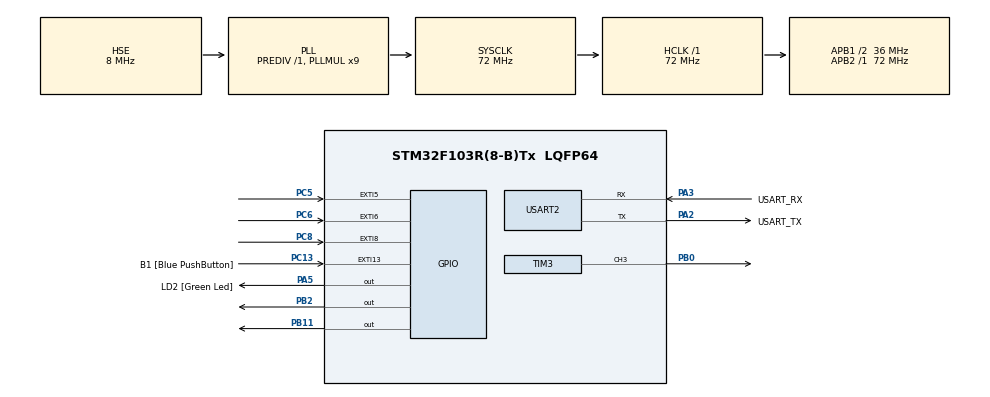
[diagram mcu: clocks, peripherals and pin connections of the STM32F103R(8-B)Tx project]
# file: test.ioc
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FREERTOS.Tasks01=defaultTask,0,128,StartDefaultTask,Default,NULL,Dynamic,NULL,NULL
FREERTOS.configUSE_TIMERS=1
Mcu.Family=STM32F1
Mcu.Name=STM32F103R(8-B)Tx
Mcu.Package=LQFP64
NVIC.EXTI15_10_IRQn=true\:5\:0\:false\:false\:true\:true\:true\:true\:true
NVIC.EXTI9_5_IRQn=true\:5\:0\:false\:false\:true\:true\:true\:true\:true
NVIC.PriorityGroup=NVIC_PRIORITYGROUP_4
PA13.GPIO_Label=TMS
PA13.Mode=Serial_Wire
PA13.Signal=SYS_JTMS-SWDIO
PA14.GPIO_Label=TCK
PA14.Mode=Serial_Wire
PA14.Signal=SYS_JTCK-SWCLK
PA2.GPIO_Label=USART_TX
PA2.GPIO_Mode=GPIO_MODE_AF_PP
PA2.GPIO_PuPd=GPIO_NOPULL
PA2.GPIO_Speed=GPIO_SPEED_FREQ_LOW
PA2.Mode=Asynchronous
PA2.Signal=USART2_TX
PA3.GPIO_Label=USART_RX
PA3.GPIO_Mode=GPIO_MODE_AF_PP
PA3.GPIO_PuPd=GPIO_NOPULL
PA3.GPIO_Speed=GPIO_SPEED_FREQ_LOW
PA3.Mode=Asynchronous
PA3.Signal=USART2_RX
PA5.GPIO_Label=LD2 [Green Led]
PA5.GPIO_ModeDefaultOutputPP=GPIO_MODE_OUTPUT_PP
PA5.GPIO_PuPd=GPIO_NOPULL
PA5.GPIO_Speed=GPIO_SPEED_FREQ_LOW
PA5.Signal=GPIO_Output
PB0.Signal=S_TIM3_CH3
PB11.Signal=GPIO_Output
PB2.Signal=GPIO_Output
PB3.GPIO_Label=SWO
PB3.Signal=SYS_JTDO-TRACESWO
PC13-TAMPER-RTC.GPIO_Label=B1 [Blue PushButton]
PC13-TAMPER-RTC.GPIO_PuPd=GPIO_NOPULL
PC13-TAMPER-RTC.Signal=GPXTI13
PC14-OSC32_IN.Mode=LSE-External-Oscillator
PC14-OSC32_IN.Signal=RCC_OSC32_IN
PC15-OSC32_OUT.Mode=LSE-External-Oscillator
PC15-OSC32_OUT.Signal=RCC_OSC32_OUT
PC5.GPIO_ModeDefaultEXTI=GPIO_MODE_IT_FALLING
PC5.GPIO_PuPd=GPIO_PULLUP
PC5.Signal=GPXTI5
PC6.GPIO_ModeDefaultEXTI=GPIO_MODE_IT_RISING_FALLING
PC6.GPIO_PuPd=GPIO_PULLUP
PC6.Signal=GPXTI6
PC8.GPIO_ModeDefaultEXTI=GPIO_MODE_IT_RISING_FALLING
PC8.GPIO_PuPd=GPIO_PULLUP
PC8.Signal=GPXTI8
PD0-OSC_IN.Mode=HSE-External-Oscillator
PD0-OSC_IN.Signal=RCC_OSC_IN
PD1-OSC_OUT.Mode=HSE-External-Oscillator
PD1-OSC_OUT.Signal=RCC_OSC_OUT
ProjectManager.HeapSize=0x200
ProjectManager.StackSize=0x400
ProjectManager.TargetToolchain=STM32CubeIDE
RCC.AHBFreq_Value=72000000
RCC.APB1CLKDivider=RCC_HCLK_DIV2
RCC.APB1Freq_Value=36000000
RCC.APB1TimFreq_Value=72000000
RCC.APB2Freq_Value=72000000
RCC.APB2TimFreq_Value=72000000
RCC.HCLKFreq_Value=72000000
RCC.PLLMUL=RCC_PLL_MUL9
RCC.PLLSourceVirtual=RCC_PLLSOURCE_HSE
RCC.RTCClockSelection=RCC_RTCCLKSOURCE_LSE
RCC.SYSCLKFreq_VALUE=72000000
RCC.SYSCLKSource=RCC_SYSCLKSOURCE_PLLCLK
RCC.USBFreq_Value=72000000
SH.S_TIM3_CH3.0=TIM3_CH3,PWM Generation3 CH3
TIM3.Channel-PWM\ Generation3\ CH3=TIM_CHANNEL_3
TIM3.Period=999
TIM3.Prescaler=71
USART2.VirtualMode=VM_ASYNC
VP_FREERTOS_VS_CMSIS_V1.Mode=CMSIS_V1
board=NUCLEO-F103RB

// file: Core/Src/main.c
/* USER CODE BEGIN Header */
/**
  ******************************************************************************
  * @file           : main.c
  * @brief          : Main program body (FreeRTOS, motor OK)
  ******************************************************************************
  * @attention
  * Copyright (c) 2025 STMicroelectronics.
  * All rights reserved.
  * This software is licensed as-is.
  ******************************************************************************
  */
/* USER CODE END Header */
#include "main.h"

/* USER CODE BEGIN Includes */
#include "FreeRTOS.h"
#include "task.h"
#include "queue.h"
#include "timers.h"
#include "semphr.h"
/* USER CODE END Includes */

/* USER CODE BEGIN PTD */
typedef enum {
  EVT_BTN_DOWN = 1,
  EVT_BTN_UP,
  EVT_GEAR_EDGE
} evt_type_t;

typedef struct {
  evt_type_t type;
  uint32_t   tick;
  uint16_t   pin;
  uint8_t    level; // 0=Low, 1=High
} evt_t;

typedef enum { GEAR_NEUTRAL = 0, GEAR_FWD = +1, GEAR_BACK = -1 } gear_t;
/* USER CODE END PTD */

/* USER CODE BEGIN PD */
#define PWM_MAX              900    // ARR=999 기준 90%
#define START_DUTY           200
#define PWM_STEP             8
#define STEP_PERIOD_MS       35

#define DEBOUNCE_MS_PRESS    60
#define DEBOUNCE_MS_RELEASE  40
#define RELEASE_POLL_MS      10
/* USER CODE END PD */

TIM_HandleTypeDef htim3;

UART_HandleTypeDef huart2;

/* USER CODE BEGIN PV */
static QueueHandle_t  qEvt;          // 단일 이벤트 큐
static TimerHandle_t  tBtnRelease;   // 버튼 해제 감시 타이머(one-shot)
static SemaphoreHandle_t xMotorMutex; // 공유 자원 보호용 뮤텍스

static uint8_t  g_pressed      = 0;   // 버튼 눌림 상태
static int16_t  g_pwm          = 0;   // 현재 듀티 (자료형 변경: uint16_t -> int16_t)
static uint32_t g_last_step_ms = 0;   // 램프업/다운 타이밍
static gear_t   g_gear         = GEAR_NEUTRAL;
/* USER CODE END PV */

void SystemClock_Config(void);
static void MX_GPIO_Init(void);
static void MX_USART2_UART_Init(void);
static void MX_TIM3_Init(void);

/* USER CODE BEGIN PFP */
static inline void Force_NoRemap_TIM3(void);
static inline void Motor_SetDuty(uint16_t d);
static inline void Motor_Fwd(void);
static inline void Motor_Bck(void);
static inline void Motor_Stop(void);
static inline gear_t ReadGear_HoldPrev(gear_t prev);

static void BtnReleaseTimerCb(TimerHandle_t xTimer);
static void ControlTask(void *arg);
static void MotorTask(void *arg);
/* USER CODE END PFP */

/* USER CODE BEGIN 0 */
static inline void Force_NoRemap_TIM3(void){
  __HAL_RCC_AFIO_CLK_ENABLE();
  AFIO->MAPR &= ~(AFIO_MAPR_TIM3_REMAP); // 00 = No Remap → CH3=PB0
}

/* ENA=PWM(TIM3_CH3), IN1/IN2=방향 GPIO */
static inline void Motor_SetDuty(uint16_t d){
  if (d > PWM_MAX) d = PWM_MAX;
  __HAL_TIM_SET_COMPARE(&htim3, TIM_CHANNEL_3, d);
  g_pwm = d;
}
static inline void Motor_Fwd(void){  // IN1=1, IN2=0
  HAL_GPIO_WritePin(GPIOB, GPIO_PIN_2, GPIO_PIN_SET);
  HAL_GPIO_WritePin(GPIOB, GPIO_PIN_11, GPIO_PIN_RESET);
}
static inline void Motor_Bck(void){  // IN1=0, IN2=1
  HAL_GPIO_WritePin(GPIOB, GPIO_PIN_2, GPIO_PIN_RESET);
  HAL_GPIO_WritePin(GPIOB, GPIO_PIN_11, GPIO_PIN_SET);
}
static inline void Motor_Stop(void){ // 프리휠 + 듀티 0
  Motor_SetDuty(0);
  HAL_GPIO_WritePin(GPIOB, GPIO_PIN_2 | GPIO_PIN_11, GPIO_PIN_RESET);
}

/* 기어 입력: PC8=FWD(LOW), PC6=BACK(LOW) */
static inline gear_t ReadGear_HoldPrev(gear_t prev)
{
  GPIO_PinState p8 = HAL_GPIO_ReadPin(GPIOC, GPIO_PIN_8); // FWD (LOW=선택)
  GPIO_PinState p6 = HAL_GPIO_ReadPin(GPIOC, GPIO_PIN_6); // BACK(LOW=선택)

  if (p8 == GPIO_PIN_RESET && p6 == GPIO_PIN_SET)  return GEAR_FWD;
  if (p6 == GPIO_PIN_RESET && p8 == GPIO_PIN_SET)  return GEAR_BACK;
  if (p8 == GPIO_PIN_SET   && p6 == GPIO_PIN_SET)  return GEAR_NEUTRAL;
  return prev;
}

/* 버튼 해제(one-shot) 폴링 타이머 */
static void BtnReleaseTimerCb(TimerHandle_t xTimer) {
  (void)xTimer;
  static uint32_t highStart = 0;
  TickType_t now = xTaskGetTickCount();

  if (HAL_GPIO_ReadPin(GPIOC, GPIO_PIN_5) == GPIO_PIN_SET) {
    if (highStart == 0) highStart = now;
    if ((now - highStart) >= pdMS_TO_TICKS(DEBOUNCE_MS_RELEASE)) {
      evt_t e = { .type = EVT_BTN_UP, .tick = now, .pin = GPIO_PIN_5, .level = 1 };
      xQueueSend(qEvt, &e, 0);
      highStart = 0;
      return; // one-shot
    }
  } else {
    highStart = 0;
  }
  xTimerStart(tBtnRelease, 0);
}
/* USER CODE END 0 */

int main(void)
{

  /* MCU Configuration--------------------------------------------------------*/

  /* Reset of all peripherals, Initializes the Flash interface and the Systick. */
  HAL_Init();

  /* Configure the system clock */
  SystemClock_Config();

  /* Initialize all configured peripherals */
  MX_GPIO_Init();
  MX_USART2_UART_Init();
  MX_TIM3_Init();
  /* USER CODE BEGIN 2 */
  /* TIM3 No-Remap 강제 (CH3=PB0) */
  Force_NoRemap_TIM3();

  /* PB0를 AF_PP로 한 번 더 보증(보드/생성옵션에 따라 안전용) */
  {
    GPIO_InitTypeDef gi = {0};
    __HAL_RCC_GPIOB_CLK_ENABLE();
    gi.Pin   = GPIO_PIN_0;
    gi.Mode  = GPIO_MODE_AF_PP;
    gi.Pull  = GPIO_NOPULL;
    gi.Speed = GPIO_SPEED_FREQ_HIGH;
    HAL_GPIO_Init(GPIOB, &gi);
  }

  /* 초기 기어 반영 */
  g_gear = ReadGear_HoldPrev(GEAR_NEUTRAL);

  /* PWM 시작(CH3) & 모터 정지 */
  HAL_TIM_PWM_Start(&htim3, TIM_CHANNEL_3);
  Motor_Stop();
  g_last_step_ms = HAL_GetTick();

  /* RTOS 객체 생성 */
  qEvt = xQueueCreate(16, sizeof(evt_t));
  configASSERT(qEvt != NULL);

  tBtnRelease = xTimerCreate("btnRel",
                             pdMS_TO_TICKS(RELEASE_POLL_MS),
                             pdFALSE, NULL, BtnReleaseTimerCb);
  configASSERT(tBtnRelease != NULL);

  // 뮤텍스 생성
  xMotorMutex = xSemaphoreCreateMutex();
  configASSERT(xMotorMutex != NULL);

  /* 태스크 생성 */
  xTaskCreate(ControlTask, "ctrl", 320, NULL, tskIDLE_PRIORITY + 3, NULL);
  xTaskCreate(MotorTask,   "motor",256, NULL, tskIDLE_PRIORITY + 2, NULL);

  /* 스케줄러 시작 */
  vTaskStartScheduler();
  /* USER CODE END 2 */

  /* We should never get here as control is now taken by the scheduler */

  /* Infinite loop */
  while (1)
  {

  }
}

void SystemClock_Config(void)
{
  RCC_OscInitTypeDef RCC_OscInitStruct = {0};
  RCC_ClkInitTypeDef RCC_ClkInitStruct = {0};

  /** Initializes the RCC Oscillators according to the specified parameters
  * in the RCC_OscInitTypeDef structure.
  */
  RCC_OscInitStruct.OscillatorType = RCC_OSCILLATORTYPE_HSE;
  RCC_OscInitStruct.HSEState = RCC_HSE_ON;
  RCC_OscInitStruct.HSEPredivValue = RCC_HSE_PREDIV_DIV1;
  RCC_OscInitStruct.HSIState = RCC_HSI_ON;
  RCC_OscInitStruct.PLL.PLLState = RCC_PLL_ON;
  RCC_OscInitStruct.PLL.PLLSource = RCC_PLLSOURCE_HSE;
  RCC_OscInitStruct.PLL.PLLMUL = RCC_PLL_MUL9;
  if (HAL_RCC_OscConfig(&RCC_OscInitStruct) != HAL_OK)
  {
    Error_Handler();
  }

  /** Initializes the CPU, AHB and APB buses clocks
  */
  RCC_ClkInitStruct.ClockType = RCC_CLOCKTYPE_HCLK|RCC_CLOCKTYPE_SYSCLK
                              |RCC_CLOCKTYPE_PCLK1|RCC_CLOCKTYPE_PCLK2;
  RCC_ClkInitStruct.SYSCLKSource = RCC_SYSCLKSOURCE_PLLCLK;
  RCC_ClkInitStruct.AHBCLKDivider = RCC_SYSCLK_DIV1;
  RCC_ClkInitStruct.APB1CLKDivider = RCC_HCLK_DIV2;
  RCC_ClkInitStruct.APB2CLKDivider = RCC_HCLK_DIV1;

  if (HAL_RCC_ClockConfig(&RCC_ClkInitStruct, FLASH_LATENCY_2) != HAL_OK)
  {
    Error_Handler();
  }
}

static void MX_TIM3_Init(void)
{

  TIM_MasterConfigTypeDef sMasterConfig = {0};
  TIM_OC_InitTypeDef sConfigOC = {0};

  htim3.Instance = TIM3;
  htim3.Init.Prescaler = 71;
  htim3.Init.CounterMode = TIM_COUNTERMODE_UP;
  htim3.Init.Period = 999;
  htim3.Init.ClockDivision = TIM_CLOCKDIVISION_DIV1;
  htim3.Init.AutoReloadPreload = TIM_AUTORELOAD_PRELOAD_DISABLE;
  if (HAL_TIM_PWM_Init(&htim3) != HAL_OK)
  {
    Error_Handler();
  }
  sMasterConfig.MasterOutputTrigger = TIM_TRGO_RESET;
  sMasterConfig.MasterSlaveMode = TIM_MASTERSLAVEMODE_DISABLE;
  if (HAL_TIMEx_MasterConfigSynchronization(&htim3, &sMasterConfig) != HAL_OK)
  {
    Error_Handler();
  }
  sConfigOC.OCMode = TIM_OCMODE_PWM1;
  sConfigOC.Pulse = 0;
  sConfigOC.OCPolarity = TIM_OCPOLARITY_HIGH;
  sConfigOC.OCFastMode = TIM_OCFAST_DISABLE;
  if (HAL_TIM_PWM_ConfigChannel(&htim3, &sConfigOC, TIM_CHANNEL_3) != HAL_OK)
  {
    Error_Handler();
  }
  HAL_TIM_MspPostInit(&htim3);

}

static void MX_USART2_UART_Init(void)
{

  huart2.Instance = USART2;
  huart2.Init.BaudRate = 115200;
  huart2.Init.WordLength = UART_WORDLENGTH_8B;
  huart2.Init.StopBits = UART_STOPBITS_1;
  huart2.Init.Parity = UART_PARITY_NONE;
  huart2.Init.Mode = UART_MODE_TX_RX;
  huart2.Init.HwFlowCtl = UART_HWCONTROL_NONE;
  if (HAL_UART_Init(&huart2) != HAL_OK)
  {
    Error_Handler();
  }

}

static void MX_GPIO_Init(void)
{
  GPIO_InitTypeDef GPIO_InitStruct = {0};

  /* GPIO Ports Clock Enable */
  __HAL_RCC_GPIOC_CLK_ENABLE();
  __HAL_RCC_GPIOD_CLK_ENABLE();
  __HAL_RCC_GPIOA_CLK_ENABLE();
  __HAL_RCC_GPIOB_CLK_ENABLE();

  /*Configure GPIO pin Output Level */
  HAL_GPIO_WritePin(LD2_GPIO_Port, LD2_Pin, GPIO_PIN_RESET);

  /*Configure GPIO pin Output Level */
  HAL_GPIO_WritePin(GPIOB, GPIO_PIN_2|GPIO_PIN_11, GPIO_PIN_RESET);

  /*Configure GPIO pin : B1_Pin */
  GPIO_InitStruct.Pin = B1_Pin;
  GPIO_InitStruct.Mode = GPIO_MODE_IT_RISING;
  GPIO_InitStruct.Pull = GPIO_NOPULL;
  HAL_GPIO_Init(B1_GPIO_Port, &GPIO_InitStruct);

  /*Configure GPIO pin : LD2_Pin */
  GPIO_InitStruct.Pin = LD2_Pin;
  GPIO_InitStruct.Mode = GPIO_MODE_OUTPUT_PP;
  GPIO_InitStruct.Pull = GPIO_NOPULL;
  GPIO_InitStruct.Speed = GPIO_SPEED_FREQ_LOW;
  HAL_GPIO_Init(LD2_GPIO_Port, &GPIO_InitStruct);

  /*Configure GPIO pin : PC5 */
  GPIO_InitStruct.Pin = GPIO_PIN_5;
  GPIO_InitStruct.Mode = GPIO_MODE_IT_FALLING;
  GPIO_InitStruct.Pull = GPIO_PULLUP;
  HAL_GPIO_Init(GPIOC, &GPIO_InitStruct);

  /*Configure GPIO pins : PB2 PB11 */
  GPIO_InitStruct.Pin = GPIO_PIN_2|GPIO_PIN_11;
  GPIO_InitStruct.Mode = GPIO_MODE_OUTPUT_PP;
  GPIO_InitStruct.Pull = GPIO_NOPULL;
  GPIO_InitStruct.Speed = GPIO_SPEED_FREQ_LOW;
  HAL_GPIO_Init(GPIOB, &GPIO_InitStruct);

  /*Configure GPIO pins : PC6 PC8 */
  GPIO_InitStruct.Pin = GPIO_PIN_6|GPIO_PIN_8;
  GPIO_InitStruct.Mode = GPIO_MODE_IT_RISING_FALLING;
  GPIO_InitStruct.Pull = GPIO_PULLUP;
  HAL_GPIO_Init(GPIOC, &GPIO_InitStruct);

  /* EXTI interrupt init*/
  HAL_NVIC_SetPriority(EXTI9_5_IRQn, 5, 0);
  HAL_NVIC_EnableIRQ(EXTI9_5_IRQn);

  HAL_NVIC_SetPriority(EXTI15_10_IRQn, 5, 0);
  HAL_NVIC_EnableIRQ(EXTI15_10_IRQn);

}

/* USER CODE BEGIN 4 */
/* EXTI 콜백: 버튼/기어 이벤트를 큐로 보냄 */
void HAL_GPIO_EXTI_Callback(uint16_t pin)
{
  BaseType_t hpw = pdFALSE;
  TickType_t now = xTaskGetTickCountFromISR();

  if (pin == GPIO_PIN_5) {  // 버튼: 눌림(FALLING)
    static TickType_t lastPress = 0;
    if ((now - lastPress) < pdMS_TO_TICKS(DEBOUNCE_MS_PRESS)) return;
    lastPress = now;

    if (HAL_GPIO_ReadPin(GPIOC, GPIO_PIN_5) == GPIO_PIN_RESET) {
      evt_t e = { .type = EVT_BTN_DOWN, .tick = now, .pin = GPIO_PIN_5, .level = 0 };
      xQueueSendFromISR(qEvt, &e, &hpw);
      xTimerStartFromISR(tBtnRelease, &hpw); // 해제 감시 시작
    }
  }
  else if (pin == GPIO_PIN_6 || pin == GPIO_PIN_8) { // 기어 엣지
    evt_t e = { .type = EVT_GEAR_EDGE, .tick = now, .pin = pin,
                .level = (HAL_GPIO_ReadPin(GPIOC, pin)==GPIO_PIN_SET) };
    xQueueSendFromISR(qEvt, &e, &hpw);
  }
  portYIELD_FROM_ISR(hpw);
}

/* 컨트롤 태스크 */
static void ControlTask(void *arg)
{
  (void)arg;
  evt_t e;

  for (;;) {
    if (xQueueReceive(qEvt, &e, portMAX_DELAY) != pdTRUE) continue;

    switch (e.type) {
      case EVT_BTN_DOWN:
        xSemaphoreTake(xMotorMutex, portMAX_DELAY);
        if (!g_pressed) {
          g_pressed = 1;
          g_last_step_ms = HAL_GetTick();
#ifdef LD2_Pin
          HAL_GPIO_WritePin(LD2_GPIO_Port, LD2_Pin, GPIO_PIN_SET);
#endif
          if (g_gear != GEAR_NEUTRAL) {
            if (g_gear == GEAR_FWD) Motor_Fwd(); else Motor_Bck();
          }
        }
        xSemaphoreGive(xMotorMutex);
        break;

      case EVT_BTN_UP:
        xSemaphoreTake(xMotorMutex, portMAX_DELAY);
        if (g_pressed) {
          g_pressed = 0;
          g_last_step_ms = HAL_GetTick(); // 타이밍 변수 초기화 추가
#ifdef LD2_Pin
          HAL_GPIO_WritePin(LD2_GPIO_Port, LD2_Pin, GPIO_PIN_RESET);
#endif
        }
        xSemaphoreGive(xMotorMutex);
        break;

      case EVT_GEAR_EDGE: {
        gear_t newg = ReadGear_HoldPrev(g_gear);
        xSemaphoreTake(xMotorMutex, portMAX_DELAY);
        if (newg != g_gear) {
          g_gear = newg;
          // 주행 중 기어 변경 시, 안전을 위해 모터 정지
          if (g_pressed) {
            g_pressed = 0;
            g_last_step_ms = HAL_GetTick(); // 타이밍 변수 초기화 추가
          }
        }
        xSemaphoreGive(xMotorMutex);
        break;
      }
      default: break;
    }
  }
}

/* 모터 램프업/다운 태스크 */
static void MotorTask(void *arg)
{
  (void)arg;
  const TickType_t period = pdMS_TO_TICKS(10);
  TickType_t last = xTaskGetTickCount();

  for(;;) {
    xSemaphoreTake(xMotorMutex, portMAX_DELAY);

    // 버튼이 눌려있지 않거나 기어가 중립일 때 -> 감속 또는 정지
    if (!g_pressed || g_gear == GEAR_NEUTRAL) {
        if (g_pwm > 0) {
            uint32_t now = HAL_GetTick();
            if ((now - g_last_step_ms) >= STEP_PERIOD_MS) {
                g_last_step_ms = now;
                g_pwm -= PWM_STEP;
                if (g_pwm < 0) g_pwm = 0;
                Motor_SetDuty(g_pwm);
            }
        } else {
            Motor_Stop();
        }
    }
    // 버튼이 눌려있고 기어가 중립이 아닐 때 -> 가속
    else {
      if (g_gear == GEAR_FWD) Motor_Fwd(); else Motor_Bck();

      uint32_t now = HAL_GetTick();
      if ((now - g_last_step_ms) >= STEP_PERIOD_MS) {
        g_last_step_ms = now;
        if (g_pwm < START_DUTY)      Motor_SetDuty(START_DUTY);
        else if (g_pwm < PWM_MAX)    Motor_SetDuty(g_pwm + PWM_STEP);
      }
    }

    xSemaphoreGive(xMotorMutex);
    vTaskDelayUntil(&last, period);
  }
}
/* USER CODE END 4 */

void Error_Handler(void)
{
  __disable_irq();
  while (1)
  {
  }
}
